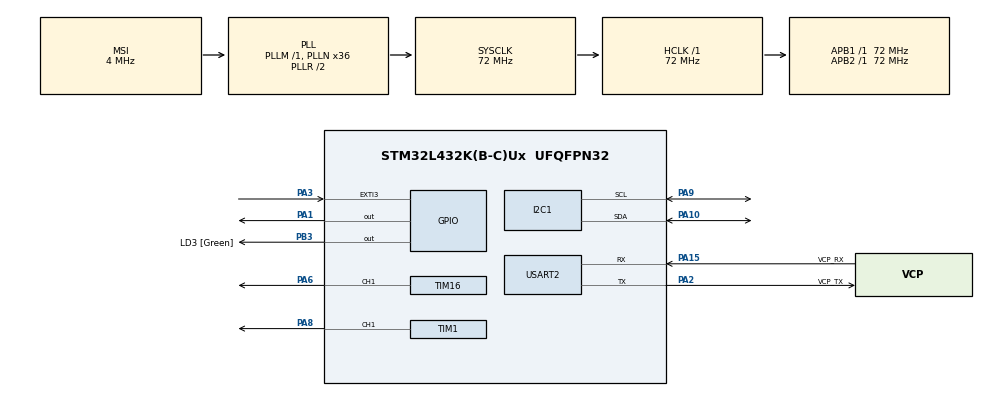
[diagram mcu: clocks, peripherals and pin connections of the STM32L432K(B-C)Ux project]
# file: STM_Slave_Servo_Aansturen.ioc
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Dma.I2C1_RX.0.Direction=DMA_PERIPH_TO_MEMORY
Dma.I2C1_RX.0.Instance=DMA1_Channel7
Dma.I2C1_RX.0.MemDataAlignment=DMA_MDATAALIGN_BYTE
Dma.I2C1_RX.0.MemInc=DMA_MINC_ENABLE
Dma.I2C1_RX.0.Mode=DMA_NORMAL
Dma.I2C1_RX.0.PeriphDataAlignment=DMA_PDATAALIGN_BYTE
Dma.I2C1_RX.0.PeriphInc=DMA_PINC_DISABLE
Dma.I2C1_RX.0.Priority=DMA_PRIORITY_LOW
Dma.Request0=I2C1_RX
I2C1.OwnAddress=0x43
I2C1.Timing=0x10C18DCC
Mcu.Family=STM32L4
Mcu.Name=STM32L432K(B-C)Ux
Mcu.Package=UFQFPN32
NVIC.DMA1_Channel7_IRQn=true\:0\:0\:false\:false\:true\:false\:true\:true
NVIC.EXTI3_IRQn=true\:0\:0\:false\:false\:true\:true\:true\:true
NVIC.I2C1_ER_IRQn=true\:0\:0\:false\:false\:true\:true\:true\:true
NVIC.I2C1_EV_IRQn=true\:0\:0\:false\:false\:true\:true\:true\:true
NVIC.PriorityGroup=NVIC_PRIORITYGROUP_4
PA0.GPIO_Label=MCO [High speed clock in]
PA0.Mode=HSE-External-Clock-Source-for-LittleOrca
PA0.Signal=RCC_CK_IN
PA1.Signal=GPIO_Output
PA10.Mode=I2C
PA10.Signal=I2C1_SDA
PA13\ (JTMS-SWDIO).GPIO_Label=SWDIO
PA13\ (JTMS-SWDIO).Mode=Serial_Wire
PA13\ (JTMS-SWDIO).Signal=SYS_JTMS-SWDIO
PA14\ (JTCK-SWCLK).GPIO_Label=SWCLK
PA14\ (JTCK-SWCLK).Mode=Serial_Wire
PA14\ (JTCK-SWCLK).Signal=SYS_JTCK-SWCLK
PA15\ (JTDI).GPIO_Label=VCP_RX
PA15\ (JTDI).Mode=Asynchronous
PA15\ (JTDI).Signal=USART2_RX
PA2.GPIO_Label=VCP_TX
PA2.Mode=Asynchronous
PA2.Signal=USART2_TX
PA3.GPIO_ModeDefaultEXTI=GPIO_MODE_IT_FALLING
PA3.GPIO_PuPd=GPIO_PULLUP
PA3.Signal=GPXTI3
PA6.Signal=S_TIM16_CH1
PA8.Signal=S_TIM1_CH1
PA9.Mode=I2C
PA9.Signal=I2C1_SCL
PB3\ (JTDO-TRACESWO).GPIO_Label=LD3 [Green]
PB3\ (JTDO-TRACESWO).Signal=GPIO_Output
PC14-OSC32_IN\ (PC14).Mode=LSE-External-Oscillator
PC14-OSC32_IN\ (PC14).Signal=RCC_OSC32_IN
PC15-OSC32_OUT\ (PC15).Mode=LSE-External-Oscillator
PC15-OSC32_OUT\ (PC15).Signal=RCC_OSC32_OUT
ProjectManager.HeapSize=0x200
ProjectManager.StackSize=0x400
ProjectManager.TargetToolchain=STM32CubeIDE
RCC.AHBFreq_Value=72000000
RCC.APB1Freq_Value=72000000
RCC.APB1TimFreq_Value=72000000
RCC.APB2Freq_Value=72000000
RCC.APB2TimFreq_Value=72000000
RCC.CortexFreq_Value=72000000
RCC.HCLKFreq_Value=72000000
RCC.HSE_VALUE=8000000
RCC.HSI16_VALUE=16000000
RCC.HSI48_VALUE=48000000
RCC.HSI_VALUE=16000000
RCC.MSI_VALUE=4000000
RCC.PLLMUL=RCC_PLLMUL_4
RCC.PLLN=36
RCC.SYSCLKFreq_VALUE=72000000
RCC.SYSCLKSource=RCC_SYSCLKSOURCE_PLLCLK
RCC.VCOOutputFreq_Value=144000000
SH.S_TIM16_CH1.0=TIM16_CH1,PWM Generation1 CH1
SH.S_TIM1_CH1.0=TIM1_CH1,PWM Generation1 CH1
TIM1.AutoReloadPreload=TIM_AUTORELOAD_PRELOAD_DISABLE
TIM1.Channel-PWM\ Generation1\ CH1=TIM_CHANNEL_1
TIM1.Period=20000-1
TIM1.Prescaler=72-1
TIM16.Channel=TIM_CHANNEL_1
TIM16.Period=20000 -1
TIM16.Prescaler=72-1
USART2.VirtualMode-Asynchronous=VM_ASYNC
VP_TIM16_VS_ClockSourceINT.Mode=Enable_Timer
board=NUCLEO-L432KC

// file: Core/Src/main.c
/* USER CODE BEGIN Header */
/**
  ******************************************************************************
  * @file           : main.c
  * @brief          : Main program body
  ******************************************************************************
  * @attention
  *
  * Copyright (c) 2025 STMicroelectronics.
  * All rights reserved.
  *
  * This software is licensed under terms that can be found in the LICENSE file
  * in the root directory of this software component.
  * If no LICENSE file comes with this software, it is provided AS-IS.
  *
  ******************************************************************************
  */
/* USER CODE END Header */
#include "main.h"

/* USER CODE BEGIN Includes */
#include <string.h>
#include <stdio.h>
//#include "I2c.h"

/* USER CODE END Includes */

I2C_HandleTypeDef hi2c1;
DMA_HandleTypeDef hdma_i2c1_rx;

TIM_HandleTypeDef htim1;
TIM_HandleTypeDef htim16;

UART_HandleTypeDef huart2;

/* USER CODE BEGIN PV */
int status = 10;
int isopen = 0;
uint8_t noodknop = 0;
uint32_t DICHT = 500;
uint32_t OPEN = 2500;
uint8_t RX_Buffer[1];
//uint8_t RX_Buffer [1] ; // DATA to receive
/* USER CODE END PV */

void SystemClock_Config(void);
static void MX_GPIO_Init(void);
static void MX_DMA_Init(void);
static void MX_USART2_UART_Init(void);
static void MX_TIM1_Init(void);
static void MX_I2C1_Init(void);
static void MX_TIM16_Init(void);

int main(void)
{

  /* MCU Configuration--------------------------------------------------------*/

  /* Reset of all peripherals, Initializes the Flash interface and the Systick. */
  HAL_Init();

  /* Configure the system clock */
  SystemClock_Config();

  /* Initialize all configured peripherals */
  MX_GPIO_Init();
  MX_DMA_Init();
  MX_USART2_UART_Init();
  MX_TIM1_Init();
  MX_I2C1_Init();
  MX_TIM16_Init();
  /* USER CODE BEGIN 2 */
 // I2CSetup();
 //HAL_I2C_Slave_Receive_IT(&hi2c1, RX_Buffer, 1);
 //LedSlave();
 HAL_TIM_PWM_Start(&htim1, TIM_CHANNEL_1); //voor servo rfid
 HAL_TIM_PWM_Start(&htim16, TIM_CHANNEL_1); //voor servo temperatuur
 __HAL_TIM_SET_COMPARE(&htim1, TIM_CHANNEL_1, 500);
// HAL_I2C_Slave_Receive_IT(&hi2c1, status, 2);
 HAL_I2C_Slave_Receive_IT(&hi2c1, RX_Buffer, 1);
 char test[] = "je bent in status 2 functie\n\r";
 char test2[] = "na delay\n\r";
  /* USER CODE END 2 */

  /* Infinite loop */
  /* USER CODE BEGIN WHILE */
  while (1)
  {
//	  if (HAL_GPIO_ReadPin(GPIOA, GPIO_PIN_3)){
//		  HAL_UART_Transmit(&huart2, (uint8_t*)test, strlen(test), HAL_MAX_DELAY);
//		  HAL_Delay(5000);
//	  }
//	  else{
//		  HAL_UART_Transmit(&huart2, (uint8_t*)test2, strlen(test2), HAL_MAX_DELAY);
//		  HAL_Delay(5000);
//	  }

	  //dit gebeurt wanneer rfid klopt of wanneer button bij STM(encoder wordt ingedrukt)
	  //luchtsluis gaat open en dicht
		if (status == 1 && noodknop == 0) {
			__HAL_TIM_SET_COMPARE(&htim1, TIM_CHANNEL_1, OPEN);
			HAL_Delay(3000);
			HAL_UART_Transmit(&huart2, (uint8_t*)test2, strlen(test2), HAL_MAX_DELAY);
			__HAL_TIM_SET_COMPARE(&htim1, TIM_CHANNEL_1, DICHT);
			//__HAL_TIM_SET_COMPARE(&htim1, TIM_CHANNEL_1, 500);
			HAL_Delay(1000);
			if (isopen == 0){
				__HAL_TIM_SET_COMPARE(&htim16, TIM_CHANNEL_1, OPEN);
				HAL_Delay(3000);
				__HAL_TIM_SET_COMPARE(&htim16, TIM_CHANNEL_1, DICHT);
			}
			status = 10; //aangepast met lennard
		}

		//noodknop ingedrukt. luchtsluis in noodstand(buitendeur open en binnendeur dicht)
		else if (status == 0) {
			__HAL_TIM_SET_COMPARE(&htim1, TIM_CHANNEL_1, OPEN); // buitendeur moet open zijn zodat mensen naar buiten kunnen lopen
			__HAL_TIM_SET_COMPARE(&htim16, TIM_CHANNEL_1, DICHT); //binnendeur moet dich wanneer noodknop wordt ingedrukt zodat mensen niet naar binnen kunnen
			noodknop = 1;
		}

		//gebeurt als temp boven 27 graden komt
		//luchtsluis deuren gaan tegelijk open
		else if (status == 2 && noodknop == 0) {
			HAL_UART_Transmit(&huart2, (uint8_t*)test, strlen(test), HAL_MAX_DELAY);
			__HAL_TIM_SET_COMPARE(&htim16, TIM_CHANNEL_1, OPEN); // temperatuur sluis
			__HAL_TIM_SET_COMPARE(&htim1, TIM_CHANNEL_1, OPEN); // rfid sluis
			HAL_Delay(2000);
			isopen = 1;
		}

		//gebeurt als temp onder 26 graden komt
		//beide deuren gaan tegelijk dicht
		else if (status == 3 && noodknop == 0) {
			__HAL_TIM_SET_COMPARE(&htim16, TIM_CHANNEL_1, DICHT); //temperatuur sluis
			__HAL_TIM_SET_COMPARE(&htim1, TIM_CHANNEL_1, DICHT); // rfid sluis
			HAL_Delay(2000);
			isopen = 0;
		}

		//wanneer code wordt gestard lijkt mij logisch dat beide servos dicht zijn
		//beide deuren gaan dicht
		else if (status == 10 && noodknop == 0) {
					__HAL_TIM_SET_COMPARE(&htim1, TIM_CHANNEL_1, DICHT);
					__HAL_TIM_SET_COMPARE(&htim16, TIM_CHANNEL_1, DICHT);
		}

		//als resetknop wordt ingedrukt kom je hierin terecht
		//beide deuren gaan dicht en gaat weer normaal functioneren
		else if (status == 4&& noodknop ==1){
			noodknop = 0;
			status = 10;
			HAL_GPIO_TogglePin(GPIOA, GPIO_PIN_1);//licht gaat uit
		}

    /* USER CODE END WHILE */

  }
}

void SystemClock_Config(void)
{
  RCC_OscInitTypeDef RCC_OscInitStruct = {0};
  RCC_ClkInitTypeDef RCC_ClkInitStruct = {0};

  /** Configure the main internal regulator output voltage
  */
  if (HAL_PWREx_ControlVoltageScaling(PWR_REGULATOR_VOLTAGE_SCALE1) != HAL_OK)
  {
    Error_Handler();
  }

  /** Configure LSE Drive Capability
  */
  HAL_PWR_EnableBkUpAccess();
  __HAL_RCC_LSEDRIVE_CONFIG(RCC_LSEDRIVE_LOW);

  /** Initializes the RCC Oscillators according to the specified parameters
  * in the RCC_OscInitTypeDef structure.
  */
  RCC_OscInitStruct.OscillatorType = RCC_OSCILLATORTYPE_LSE|RCC_OSCILLATORTYPE_MSI;
  RCC_OscInitStruct.LSEState = RCC_LSE_ON;
  RCC_OscInitStruct.MSIState = RCC_MSI_ON;
  RCC_OscInitStruct.MSICalibrationValue = 0;
  RCC_OscInitStruct.MSIClockRange = RCC_MSIRANGE_6;
  RCC_OscInitStruct.PLL.PLLState = RCC_PLL_ON;
  RCC_OscInitStruct.PLL.PLLSource = RCC_PLLSOURCE_MSI;
  RCC_OscInitStruct.PLL.PLLM = 1;
  RCC_OscInitStruct.PLL.PLLN = 36;
  RCC_OscInitStruct.PLL.PLLP = RCC_PLLP_DIV7;
  RCC_OscInitStruct.PLL.PLLQ = RCC_PLLQ_DIV2;
  RCC_OscInitStruct.PLL.PLLR = RCC_PLLR_DIV2;
  if (HAL_RCC_OscConfig(&RCC_OscInitStruct) != HAL_OK)
  {
    Error_Handler();
  }

  /** Initializes the CPU, AHB and APB buses clocks
  */
  RCC_ClkInitStruct.ClockType = RCC_CLOCKTYPE_HCLK|RCC_CLOCKTYPE_SYSCLK
                              |RCC_CLOCKTYPE_PCLK1|RCC_CLOCKTYPE_PCLK2;
  RCC_ClkInitStruct.SYSCLKSource = RCC_SYSCLKSOURCE_PLLCLK;
  RCC_ClkInitStruct.AHBCLKDivider = RCC_SYSCLK_DIV1;
  RCC_ClkInitStruct.APB1CLKDivider = RCC_HCLK_DIV1;
  RCC_ClkInitStruct.APB2CLKDivider = RCC_HCLK_DIV1;

  if (HAL_RCC_ClockConfig(&RCC_ClkInitStruct, FLASH_LATENCY_4) != HAL_OK)
  {
    Error_Handler();
  }

  /** Enable MSI Auto calibration
  */
  HAL_RCCEx_EnableMSIPLLMode();
}

static void MX_I2C1_Init(void)
{

  hi2c1.Instance = I2C1;
  hi2c1.Init.Timing = 0x10C18DCC;
  hi2c1.Init.OwnAddress1 = 134;
  hi2c1.Init.AddressingMode = I2C_ADDRESSINGMODE_7BIT;
  hi2c1.Init.DualAddressMode = I2C_DUALADDRESS_DISABLE;
  hi2c1.Init.OwnAddress2 = 0;
  hi2c1.Init.OwnAddress2Masks = I2C_OA2_NOMASK;
  hi2c1.Init.GeneralCallMode = I2C_GENERALCALL_DISABLE;
  hi2c1.Init.NoStretchMode = I2C_NOSTRETCH_DISABLE;
  if (HAL_I2C_Init(&hi2c1) != HAL_OK)
  {
    Error_Handler();
  }

  /** Configure Analogue filter
  */
  if (HAL_I2CEx_ConfigAnalogFilter(&hi2c1, I2C_ANALOGFILTER_ENABLE) != HAL_OK)
  {
    Error_Handler();
  }

  /** Configure Digital filter
  */
  if (HAL_I2CEx_ConfigDigitalFilter(&hi2c1, 0) != HAL_OK)
  {
    Error_Handler();
  }

}

static void MX_TIM1_Init(void)
{

  TIM_MasterConfigTypeDef sMasterConfig = {0};
  TIM_OC_InitTypeDef sConfigOC = {0};
  TIM_BreakDeadTimeConfigTypeDef sBreakDeadTimeConfig = {0};

  htim1.Instance = TIM1;
  htim1.Init.Prescaler = 72-1;
  htim1.Init.CounterMode = TIM_COUNTERMODE_UP;
  htim1.Init.Period = 20000-1;
  htim1.Init.ClockDivision = TIM_CLOCKDIVISION_DIV1;
  htim1.Init.RepetitionCounter = 0;
  htim1.Init.AutoReloadPreload = TIM_AUTORELOAD_PRELOAD_DISABLE;
  if (HAL_TIM_PWM_Init(&htim1) != HAL_OK)
  {
    Error_Handler();
  }
  sMasterConfig.MasterOutputTrigger = TIM_TRGO_RESET;
  sMasterConfig.MasterOutputTrigger2 = TIM_TRGO2_RESET;
  sMasterConfig.MasterSlaveMode = TIM_MASTERSLAVEMODE_DISABLE;
  if (HAL_TIMEx_MasterConfigSynchronization(&htim1, &sMasterConfig) != HAL_OK)
  {
    Error_Handler();
  }
  sConfigOC.OCMode = TIM_OCMODE_PWM1;
  sConfigOC.Pulse = 0;
  sConfigOC.OCPolarity = TIM_OCPOLARITY_HIGH;
  sConfigOC.OCNPolarity = TIM_OCNPOLARITY_HIGH;
  sConfigOC.OCFastMode = TIM_OCFAST_DISABLE;
  sConfigOC.OCIdleState = TIM_OCIDLESTATE_RESET;
  sConfigOC.OCNIdleState = TIM_OCNIDLESTATE_RESET;
  if (HAL_TIM_PWM_ConfigChannel(&htim1, &sConfigOC, TIM_CHANNEL_1) != HAL_OK)
  {
    Error_Handler();
  }
  sBreakDeadTimeConfig.OffStateRunMode = TIM_OSSR_DISABLE;
  sBreakDeadTimeConfig.OffStateIDLEMode = TIM_OSSI_DISABLE;
  sBreakDeadTimeConfig.LockLevel = TIM_LOCKLEVEL_OFF;
  sBreakDeadTimeConfig.DeadTime = 0;
  sBreakDeadTimeConfig.BreakState = TIM_BREAK_DISABLE;
  sBreakDeadTimeConfig.BreakPolarity = TIM_BREAKPOLARITY_HIGH;
  sBreakDeadTimeConfig.BreakFilter = 0;
  sBreakDeadTimeConfig.Break2State = TIM_BREAK2_DISABLE;
  sBreakDeadTimeConfig.Break2Polarity = TIM_BREAK2POLARITY_HIGH;
  sBreakDeadTimeConfig.Break2Filter = 0;
  sBreakDeadTimeConfig.AutomaticOutput = TIM_AUTOMATICOUTPUT_DISABLE;
  if (HAL_TIMEx_ConfigBreakDeadTime(&htim1, &sBreakDeadTimeConfig) != HAL_OK)
  {
    Error_Handler();
  }
  HAL_TIM_MspPostInit(&htim1);

}

static void MX_TIM16_Init(void)
{

  TIM_OC_InitTypeDef sConfigOC = {0};
  TIM_BreakDeadTimeConfigTypeDef sBreakDeadTimeConfig = {0};

  htim16.Instance = TIM16;
  htim16.Init.Prescaler = 72-1;
  htim16.Init.CounterMode = TIM_COUNTERMODE_UP;
  htim16.Init.Period = 20000 -1;
  htim16.Init.ClockDivision = TIM_CLOCKDIVISION_DIV1;
  htim16.Init.RepetitionCounter = 0;
  htim16.Init.AutoReloadPreload = TIM_AUTORELOAD_PRELOAD_DISABLE;
  if (HAL_TIM_Base_Init(&htim16) != HAL_OK)
  {
    Error_Handler();
  }
  if (HAL_TIM_PWM_Init(&htim16) != HAL_OK)
  {
    Error_Handler();
  }
  sConfigOC.OCMode = TIM_OCMODE_PWM1;
  sConfigOC.Pulse = 0;
  sConfigOC.OCPolarity = TIM_OCPOLARITY_HIGH;
  sConfigOC.OCNPolarity = TIM_OCNPOLARITY_HIGH;
  sConfigOC.OCFastMode = TIM_OCFAST_DISABLE;
  sConfigOC.OCIdleState = TIM_OCIDLESTATE_RESET;
  sConfigOC.OCNIdleState = TIM_OCNIDLESTATE_RESET;
  if (HAL_TIM_PWM_ConfigChannel(&htim16, &sConfigOC, TIM_CHANNEL_1) != HAL_OK)
  {
    Error_Handler();
  }
  sBreakDeadTimeConfig.OffStateRunMode = TIM_OSSR_DISABLE;
  sBreakDeadTimeConfig.OffStateIDLEMode = TIM_OSSI_DISABLE;
  sBreakDeadTimeConfig.LockLevel = TIM_LOCKLEVEL_OFF;
  sBreakDeadTimeConfig.DeadTime = 0;
  sBreakDeadTimeConfig.BreakState = TIM_BREAK_DISABLE;
  sBreakDeadTimeConfig.BreakPolarity = TIM_BREAKPOLARITY_HIGH;
  sBreakDeadTimeConfig.AutomaticOutput = TIM_AUTOMATICOUTPUT_DISABLE;
  if (HAL_TIMEx_ConfigBreakDeadTime(&htim16, &sBreakDeadTimeConfig) != HAL_OK)
  {
    Error_Handler();
  }
  HAL_TIM_MspPostInit(&htim16);

}

static void MX_USART2_UART_Init(void)
{

  huart2.Instance = USART2;
  huart2.Init.BaudRate = 115200;
  huart2.Init.WordLength = UART_WORDLENGTH_8B;
  huart2.Init.StopBits = UART_STOPBITS_1;
  huart2.Init.Parity = UART_PARITY_NONE;
  huart2.Init.Mode = UART_MODE_TX_RX;
  huart2.Init.HwFlowCtl = UART_HWCONTROL_NONE;
  huart2.Init.OverSampling = UART_OVERSAMPLING_16;
  huart2.Init.OneBitSampling = UART_ONE_BIT_SAMPLE_DISABLE;
  huart2.AdvancedInit.AdvFeatureInit = UART_ADVFEATURE_NO_INIT;
  if (HAL_UART_Init(&huart2) != HAL_OK)
  {
    Error_Handler();
  }

}

static void MX_DMA_Init(void)
{

  /* DMA controller clock enable */
  __HAL_RCC_DMA1_CLK_ENABLE();

  /* DMA interrupt init */
  /* DMA1_Channel7_IRQn interrupt configuration */
  HAL_NVIC_SetPriority(DMA1_Channel7_IRQn, 0, 0);
  HAL_NVIC_EnableIRQ(DMA1_Channel7_IRQn);

}

static void MX_GPIO_Init(void)
{
  GPIO_InitTypeDef GPIO_InitStruct = {0};

  /* GPIO Ports Clock Enable */
  __HAL_RCC_GPIOC_CLK_ENABLE();
  __HAL_RCC_GPIOA_CLK_ENABLE();
  __HAL_RCC_GPIOB_CLK_ENABLE();

  /*Configure GPIO pin Output Level */
  HAL_GPIO_WritePin(GPIOA, GPIO_PIN_1, GPIO_PIN_RESET);

  /*Configure GPIO pin Output Level */
  HAL_GPIO_WritePin(LD3_GPIO_Port, LD3_Pin, GPIO_PIN_RESET);

  /*Configure GPIO pin : PA1 */
  GPIO_InitStruct.Pin = GPIO_PIN_1;
  GPIO_InitStruct.Mode = GPIO_MODE_OUTPUT_PP;
  GPIO_InitStruct.Pull = GPIO_NOPULL;
  GPIO_InitStruct.Speed = GPIO_SPEED_FREQ_LOW;
  HAL_GPIO_Init(GPIOA, &GPIO_InitStruct);

  /*Configure GPIO pin : PA3 */
  GPIO_InitStruct.Pin = GPIO_PIN_3;
  GPIO_InitStruct.Mode = GPIO_MODE_IT_FALLING;
  GPIO_InitStruct.Pull = GPIO_PULLUP;
  HAL_GPIO_Init(GPIOA, &GPIO_InitStruct);

  /*Configure GPIO pin : LD3_Pin */
  GPIO_InitStruct.Pin = LD3_Pin;
  GPIO_InitStruct.Mode = GPIO_MODE_OUTPUT_PP;
  GPIO_InitStruct.Pull = GPIO_NOPULL;
  GPIO_InitStruct.Speed = GPIO_SPEED_FREQ_LOW;
  HAL_GPIO_Init(LD3_GPIO_Port, &GPIO_InitStruct);

  /* EXTI interrupt init*/
  HAL_NVIC_SetPriority(EXTI3_IRQn, 0, 0);
  HAL_NVIC_EnableIRQ(EXTI3_IRQn);

}

/* USER CODE BEGIN 4 */
void HAL_I2C_SlaveRxCpltCallback(I2C_HandleTypeDef *hi2c){

	//wanneer de pi een request stuurt komt het hier terecht
	if (hi2c->Instance == I2C1) {
		if (RX_Buffer[0] == 1) {
			char msg1[] = "Ontvangen: 1\r\n";
			HAL_UART_Transmit(&huart2, (uint8_t*)msg1, strlen(msg1), HAL_MAX_DELAY);
			status = 1;
		}

		else if(RX_Buffer[0] == 2){
			char msg3[] = "Ontvangen: 2\r\n";
			HAL_UART_Transmit(&huart2, (uint8_t*)msg3, strlen(msg3), HAL_MAX_DELAY);
			status = 2;
		}
		else if(RX_Buffer[0] == 3){
					char msg4[] = "Ontvangen: 3\r\n";
					HAL_UART_Transmit(&huart2, (uint8_t*)msg4, strlen(msg4), HAL_MAX_DELAY);
					status = 3;
		}
		else if(RX_Buffer[0] == 4){
			char msg5[] = "Ontvangen: 4\r\n";
			HAL_UART_Transmit(&huart2, (uint8_t*)msg5, strlen(msg5), HAL_MAX_DELAY);
			status = 4;
		}
		else if(RX_Buffer[0] == 5){
			HAL_I2C_Slave_Transmit_IT(&hi2c1, &noodknop, 1);
		}

	}
	HAL_I2C_Slave_Receive_IT(&hi2c1, RX_Buffer, 1);

}

void HAL_I2C_SlaveTxCpltCallback(I2C_HandleTypeDef *hi2c)
{
    if (hi2c->Instance == I2C1) {
        HAL_I2C_Slave_Receive_IT(&hi2c1, RX_Buffer, 1);
    }
}

void HAL_GPIO_EXTI_Callback(uint16_t GPIO_Pin)
{
  if(GPIO_Pin == GPIO_PIN_3 && noodknop == 0) {
	  HAL_GPIO_TogglePin(GPIOA, GPIO_PIN_1);
	  noodknop = 1;
	  status = 0;
	  char msg2[] = "Ontvangen: 0\r\n";
	  HAL_UART_Transmit(&huart2, (uint8_t*)msg2, strlen(msg2), HAL_MAX_DELAY);
  }
}
/* USER CODE END 4 */

void Error_Handler(void)
{
  __disable_irq();
  while (1)
  {
  }
}
